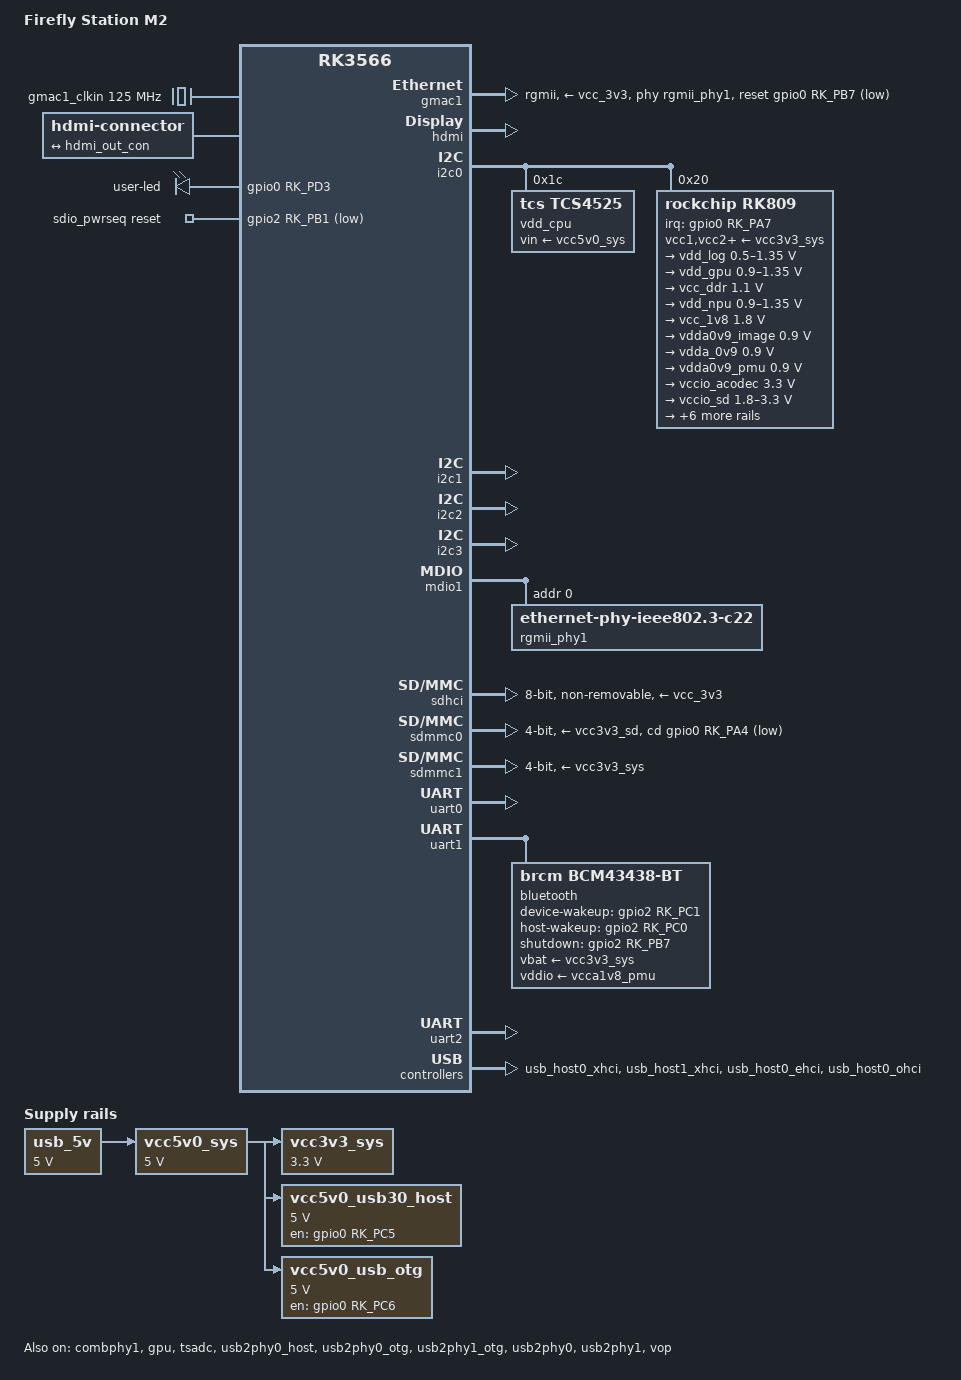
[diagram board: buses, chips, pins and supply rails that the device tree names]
// SPDX-License-Identifier: (GPL-2.0+ OR MIT)

/dts-v1/;

#include <dt-bindings/gpio/gpio.h>
#include <dt-bindings/pinctrl/rockchip.h>
#include <dt-bindings/soc/rockchip,vop2.h>
#include "rk3566.dtsi"

/ {
	model = "Firefly Station M2";
	compatible = "firefly,rk3566-roc-pc", "rockchip,rk3566";

	aliases {
		mmc0 = &sdmmc0;
		mmc1 = &sdhci;
		mmc2 = &sdmmc1;
	};

	chosen: chosen {
		stdout-path = "serial2:1500000n8";
	};

	gmac1_clkin: external-gmac1-clock {
		compatible = "fixed-clock";
		clock-frequency = <125000000>;
		clock-output-names = "gmac1_clkin";
		#clock-cells = <0>;
	};

	hdmi-con {
		compatible = "hdmi-connector";
		type = "a";

		port {
			hdmi_con_in: endpoint {
				remote-endpoint = <&hdmi_out_con>;
			};
		};
	};

	leds {
		compatible = "gpio-leds";

		led-user {
			label = "user-led";
			default-state = "on";
			gpios = <&gpio0 RK_PD3 GPIO_ACTIVE_HIGH>;
			linux,default-trigger = "heartbeat";
			pinctrl-names = "default";
			pinctrl-0 = <&user_led_enable_h>;
			retain-state-suspended;
		};
	};

	sdio_pwrseq: sdio-pwrseq {
		status = "okay";
		compatible = "mmc-pwrseq-simple";
		clocks = <&rk809 1>;
		clock-names = "ext_clock";
		pinctrl-names = "default";
		pinctrl-0 = <&wifi_enable_h>;
		reset-gpios = <&gpio2 RK_PB1 GPIO_ACTIVE_LOW>;
	};

	usb_5v: usb-5v-regulator {
		compatible = "regulator-fixed";
		regulator-name = "usb_5v";
		regulator-always-on;
		regulator-boot-on;
		regulator-min-microvolt = <5000000>;
		regulator-max-microvolt = <5000000>;
	};

	vcc5v0_sys: vcc5v0-sys-regulator {
		compatible = "regulator-fixed";
		regulator-name = "vcc5v0_sys";
		regulator-always-on;
		regulator-boot-on;
		regulator-min-microvolt = <5000000>;
		regulator-max-microvolt = <5000000>;
		vin-supply = <&usb_5v>;
	};

	vcc3v3_sys: vcc3v3-sys-regulator {
		compatible = "regulator-fixed";
		regulator-name = "vcc3v3_sys";
		regulator-min-microvolt = <3300000>;
		regulator-max-microvolt = <3300000>;
		regulator-always-on;
		vin-supply = <&vcc5v0_sys>;
	};

	vcc5v0_usb30_host: vcc5v0-usb30-host-regulator {
		compatible = "regulator-fixed";
		regulator-name = "vcc5v0_usb30_host";
		enable-active-high;
		gpio = <&gpio0 RK_PC5 GPIO_ACTIVE_HIGH>;
		pinctrl-names = "default";
		pinctrl-0 = <&vcc5v0_usb30_host_en_h>;
		regulator-always-on;
		regulator-min-microvolt = <5000000>;
		regulator-max-microvolt = <5000000>;
		vin-supply = <&vcc5v0_sys>;
	};

	vcc5v0_usb_otg: vcc5v0-usb-otg-regulator {
		compatible = "regulator-fixed";
		regulator-name = "vcc5v0_usb_otg";
		enable-active-high;
		gpio = <&gpio0 RK_PC6 GPIO_ACTIVE_HIGH>;
		pinctrl-names = "default";
		pinctrl-0 = <&vcc5v0_usb_otg_en_h>;
		regulator-always-on;
		regulator-min-microvolt = <5000000>;
		regulator-max-microvolt = <5000000>;
		vin-supply = <&vcc5v0_sys>;
	};
};

&combphy1 {
	status = "okay";
};

&cpu0 {
	cpu-supply = <&vdd_cpu>;
};

&cpu1 {
	cpu-supply = <&vdd_cpu>;
};

&cpu2 {
	cpu-supply = <&vdd_cpu>;
};

&cpu3 {
	cpu-supply = <&vdd_cpu>;
};

&gmac1 {
	assigned-clocks = <&cru SCLK_GMAC1_RX_TX>, <&cru SCLK_GMAC1_RGMII_SPEED>, <&cru SCLK_GMAC1>;
	assigned-clock-parents = <&cru SCLK_GMAC1_RGMII_SPEED>, <&cru SCLK_GMAC1>, <&gmac1_clkin>;
	clock_in_out = "input";
	phy-mode = "rgmii";
	phy-supply = <&vcc_3v3>;
	pinctrl-names = "default";
	pinctrl-0 = <&gmac1m0_miim
		     &gmac1m0_tx_bus2
		     &gmac1m0_rx_bus2
		     &gmac1m0_rgmii_clk
		     &gmac1m0_clkinout
		     &gmac1m0_rgmii_bus>;
	snps,reset-gpio = <&gpio0 RK_PB7 GPIO_ACTIVE_LOW>;
	snps,reset-active-low;
	/* Reset time is 20ms, 100ms for rtl8211f */
	snps,reset-delays-us = <0 20000 100000>;
	tx_delay = <0x4f>;
	rx_delay = <0x24>;
	phy-handle = <&rgmii_phy1>;
	status = "okay";
};

&gpu {
	mali-supply = <&vdd_gpu>;
	status = "okay";
};

&hdmi {
	avdd-0v9-supply = <&vdda0v9_image>;
	avdd-1v8-supply = <&vcca1v8_image>;
	status = "okay";
};

&hdmi_in {
	hdmi_in_vp0: endpoint {
		remote-endpoint = <&vp0_out_hdmi>;
	};
};

&hdmi_out {
	hdmi_out_con: endpoint {
		remote-endpoint = <&hdmi_con_in>;
	};
};

&i2c0 {
	status = "okay";

	vdd_cpu: regulator@1c {
		compatible = "tcs,tcs4525";
		reg = <0x1c>;
		fcs,suspend-voltage-selector = <1>;
		regulator-name = "vdd_cpu";
		regulator-min-microvolt = <800000>;
		regulator-max-microvolt = <1150000>;
		regulator-ramp-delay = <2300>;
		regulator-always-on;
		regulator-boot-on;
		vin-supply = <&vcc5v0_sys>;

		regulator-state-mem {
			regulator-off-in-suspend;
		};
	};

	rk809: pmic@20 {
		compatible = "rockchip,rk809";
		reg = <0x20>;
		interrupt-parent = <&gpio0>;
		interrupts = <RK_PA7 IRQ_TYPE_LEVEL_LOW>;
		clock-output-names = "rk808-clkout1", "rk808-clkout2";

		pinctrl-names = "default";
		pinctrl-0 = <&pmic_int>;
		rockchip,system-power-controller;
		wakeup-source;
		#clock-cells = <1>;

		vcc1-supply = <&vcc3v3_sys>;
		vcc2-supply = <&vcc3v3_sys>;
		vcc3-supply = <&vcc3v3_sys>;
		vcc4-supply = <&vcc3v3_sys>;
		vcc5-supply = <&vcc3v3_sys>;
		vcc6-supply = <&vcc3v3_sys>;
		vcc7-supply = <&vcc3v3_sys>;
		vcc8-supply = <&vcc3v3_sys>;
		vcc9-supply = <&vcc3v3_sys>;

		regulators {
			vdd_log: DCDC_REG1 {
				regulator-name = "vdd_log";
				regulator-always-on;
				regulator-boot-on;
				regulator-min-microvolt = <500000>;
				regulator-max-microvolt = <1350000>;
				regulator-init-microvolt = <900000>;
				regulator-ramp-delay = <6001>;

				regulator-state-mem {
					regulator-on-in-suspend;
					regulator-suspend-microvolt = <900000>;
				};
			};

			vdd_gpu: DCDC_REG2 {
				regulator-name = "vdd_gpu";
				regulator-min-microvolt = <900000>;
				regulator-max-microvolt = <1350000>;
				regulator-init-microvolt = <900000>;
				regulator-ramp-delay = <6001>;

				regulator-state-mem {
					regulator-off-in-suspend;
					regulator-suspend-microvolt = <900000>;
				};
			};

			vcc_ddr: DCDC_REG3 {
				regulator-name = "vcc_ddr";
				regulator-always-on;
				regulator-boot-on;
				regulator-min-microvolt = <1100000>;
				regulator-max-microvolt = <1100000>;
				regulator-initial-mode = <0x2>;
				regulator-state-mem {
					regulator-on-in-suspend;
				};
			};

			vdd_npu: DCDC_REG4 {
				regulator-name = "vdd_npu";
				regulator-min-microvolt = <900000>;
				regulator-max-microvolt = <1350000>;
				regulator-initial-mode = <0x2>;
				regulator-state-mem {
					regulator-off-in-suspend;
				};
			};

			vcc_1v8: DCDC_REG5 {
				regulator-name = "vcc_1v8";
				regulator-always-on;
				regulator-boot-on;
				regulator-min-microvolt = <1800000>;
				regulator-max-microvolt = <1800000>;

				regulator-state-mem {
					regulator-on-in-suspend;
					regulator-suspend-microvolt = <1800000>;
				};
			};

			vdda0v9_image: LDO_REG1 {
				regulator-name = "vdda0v9_image";
				regulator-always-on;
				regulator-boot-on;
				regulator-min-microvolt = <900000>;
				regulator-max-microvolt = <900000>;

				regulator-state-mem {
					regulator-on-in-suspend;
					regulator-suspend-microvolt = <900000>;
				};
			};

			vdda_0v9: LDO_REG2 {
				regulator-name = "vdda_0v9";
				regulator-always-on;
				regulator-boot-on;
				regulator-min-microvolt = <900000>;
				regulator-max-microvolt = <900000>;

				regulator-state-mem {
					regulator-on-in-suspend;
					regulator-suspend-microvolt = <900000>;
				};
			};

			vdda0v9_pmu: LDO_REG3 {
				regulator-name = "vdda0v9_pmu";
				regulator-always-on;
				regulator-boot-on;
				regulator-min-microvolt = <900000>;
				regulator-max-microvolt = <900000>;
				regulator-state-mem {
					regulator-on-in-suspend;
					regulator-suspend-microvolt = <900000>;
				};
			};

			vccio_acodec: LDO_REG4 {
				regulator-name = "vccio_acodec";
				regulator-always-on;
				regulator-boot-on;
				regulator-min-microvolt = <3300000>;
				regulator-max-microvolt = <3300000>;

				regulator-state-mem {
					regulator-on-in-suspend;
					regulator-suspend-microvolt = <3300000>;

				};
			};

			vccio_sd: LDO_REG5 {
				regulator-name = "vccio_sd";
				regulator-always-on;
				regulator-boot-on;
				regulator-min-microvolt = <1800000>;
				regulator-max-microvolt = <3300000>;

				regulator-state-mem {
					regulator-on-in-suspend;
					regulator-suspend-microvolt = <3300000>;
				};
			};

			vcc3v3_pmu: LDO_REG6 {
				regulator-name = "vcc3v3_pmu";
				regulator-always-on;
				regulator-boot-on;
				regulator-min-microvolt = <3300000>;
				regulator-max-microvolt = <3300000>;

				regulator-state-mem {
					regulator-on-in-suspend;
					regulator-suspend-microvolt = <3300000>;
				};
			};

			vcca_1v8: LDO_REG7 {
				regulator-name = "vcca_1v8";
				regulator-always-on;
				regulator-boot-on;
				regulator-min-microvolt = <1800000>;
				regulator-max-microvolt = <1800000>;

				regulator-state-mem {
					regulator-on-in-suspend;
					regulator-suspend-microvolt = <1800000>;
				};
			};

			vcca1v8_pmu: LDO_REG8 {
				regulator-name = "vcca1v8_pmu";
				regulator-always-on;
				regulator-boot-on;
				regulator-min-microvolt = <1800000>;
				regulator-max-microvolt = <1800000>;

				regulator-state-mem {
					regulator-on-in-suspend;
					regulator-suspend-microvolt = <1800000>;
				};
			};

			vcca1v8_image: LDO_REG9 {
				regulator-name = "vcca1v8_image";
				regulator-always-on;
				regulator-boot-on;
				regulator-min-microvolt = <1800000>;
				regulator-max-microvolt = <1800000>;

				regulator-state-mem {
					regulator-on-in-suspend;
					regulator-suspend-microvolt = <1800000>;
				};
			};

			vcc_3v3: SWITCH_REG1 {
				regulator-boot-on;
				regulator-name = "vcc3v3";
			};

			vcc3v3_sd: SWITCH_REG2 {
				regulator-name = "vcc3v3_sd";
				regulator-always-on;
				regulator-boot-on;
			};
		};
	};
};

&i2c1 {
	status = "okay";
};

&i2c2 {
	status = "okay";
};

&i2c3 {
	pinctrl-names = "default";
	pinctrl-0 = <&i2c3m0_xfer>;
	status = "okay";
};

&mdio1 {
	rgmii_phy1: ethernet-phy@0 {
		compatible = "ethernet-phy-ieee802.3-c22";
		reg = <0x0>;
	};
};

&pinctrl {
	bt {
		bt_enable_h: bt-enable-h {
			rockchip,pins = <0 RK_PC1 RK_FUNC_GPIO &pcfg_pull_none>;
		};

		bt_host_wake_l: bt-host-wake-l {
			rockchip,pins = <0 RK_PB3 RK_FUNC_GPIO &pcfg_pull_down>;
		};

		bt_wake_l: bt-wake-l {
			rockchip,pins = <0 RK_PB4 RK_FUNC_GPIO &pcfg_pull_none>;
		};
	};

	leds {
		user_led_enable_h: user-led-enable-h {
			rockchip,pins = <0 RK_PD3 RK_FUNC_GPIO &pcfg_pull_none>;
		};
	};

	pmic {
		pmic_int: pmic_int {
			rockchip,pins =
				<0 RK_PA3 RK_FUNC_GPIO &pcfg_pull_up>;
		};
	};

	sdio-pwrseq {
		wifi_enable_h: wifi-enable-h {
			rockchip,pins = <2 RK_PB1 RK_FUNC_GPIO &pcfg_pull_none>;
		};
	};

	usb {
		vcc5v0_usb30_host_en_h: vcc5v0-usb30-host-en_h {
			rockchip,pins = <0 RK_PC5 RK_FUNC_GPIO &pcfg_pull_none>;
		};

		vcc5v0_usb_otg_en_h: vcc5v0-usb-otg-en_h {
			rockchip,pins = <0 RK_PC6 RK_FUNC_GPIO &pcfg_pull_none>;
		};
	};
};

&pmu_io_domains {
	status = "okay";
	pmuio1-supply = <&vcc3v3_pmu>;
	pmuio2-supply = <&vcc3v3_pmu>;
	vccio1-supply = <&vccio_acodec>;
	vccio2-supply = <&vcc_1v8>;
	vccio3-supply = <&vccio_sd>;
	vccio4-supply = <&vcc_1v8>;
	vccio5-supply = <&vcc_3v3>;
	vccio6-supply = <&vcc_1v8>;
	vccio7-supply = <&vcc_3v3>;
};

&sdhci {
	bus-width = <8>;
	mmc-hs200-1_8v;
	non-removable;
	vmmc-supply = <&vcc_3v3>;
	vqmmc-supply = <&vcc_1v8>;
	status = "okay";
};

&sdmmc0 {
	bus-width = <4>;
	cap-sd-highspeed;
	cd-gpios = <&gpio0 RK_PA4 GPIO_ACTIVE_LOW>;
	disable-wp;
	pinctrl-names = "default";
	pinctrl-0 = <&sdmmc0_bus4 &sdmmc0_clk &sdmmc0_cmd &sdmmc0_det>;
	sd-uhs-sdr104;
	vmmc-supply = <&vcc3v3_sd>;
	vqmmc-supply = <&vccio_sd>;
	status = "okay";
};

&sdmmc1 {
	bus-width = <4>;
	cap-sd-highspeed;
	cap-sdio-irq;
	keep-power-in-suspend;
	mmc-pwrseq = <&sdio_pwrseq>;
	vmmc-supply = <&vcc3v3_sys>;
	vqmmc-supply = <&vcca1v8_pmu>;
	pinctrl-names = "default";
	pinctrl-0 = <&sdmmc1_bus4 &sdmmc1_cmd &sdmmc1_clk>;
	status = "okay";
};

&tsadc {
	status = "okay";
};

&uart0 {
	pinctrl-names = "default";
	pinctrl-0 = <&uart0_xfer>;
	status = "okay";
};

&uart1 {
	pinctrl-names = "default";
	pinctrl-0 = <&uart1m0_xfer &uart1m0_ctsn>;
	status = "okay";
	uart-has-rtscts;

	bluetooth {
		compatible = "brcm,bcm43438-bt";
		clocks = <&rk809 1>;
		clock-names = "lpo";
		device-wakeup-gpios = <&gpio2 RK_PC1 GPIO_ACTIVE_HIGH>;
		host-wakeup-gpios = <&gpio2 RK_PC0 GPIO_ACTIVE_HIGH>;
		shutdown-gpios = <&gpio2 RK_PB7 GPIO_ACTIVE_HIGH>;
		pinctrl-names = "default";
		pinctrl-0 = <&bt_host_wake_l &bt_wake_l &bt_enable_h>;
		vbat-supply = <&vcc3v3_sys>;
		vddio-supply = <&vcca1v8_pmu>;
	};
};

&uart2 {
	status = "okay";
};

&usb2phy0_host {
	phy-supply = <&vcc5v0_usb30_host>;
	status = "okay";
};

&usb2phy0_otg {
	phy-supply = <&vcc5v0_usb_otg>;
	status = "okay";
};

&usb2phy1_otg {
	phy-supply = <&vcc5v0_usb30_host>;
	status = "okay";
};

&usb2phy0 {
	status = "okay";
};

&usb2phy1 {
	status = "okay";
};

&usb_host0_xhci {
	status = "okay";
};

&usb_host1_xhci {
	status = "okay";
};

&usb_host0_ehci {
	status = "okay";
};

&usb_host0_ohci {
	status = "okay";
};

&vop {
	assigned-clocks = <&cru DCLK_VOP0>, <&cru DCLK_VOP1>;
	assigned-clock-parents = <&pmucru PLL_HPLL>, <&cru PLL_VPLL>;
	status = "okay";
};

&vop_mmu {
	status = "okay";
};

&vp0 {
	vp0_out_hdmi: endpoint@ROCKCHIP_VOP2_EP_HDMI0 {
		reg = <ROCKCHIP_VOP2_EP_HDMI0>;
		remote-endpoint = <&hdmi_in_vp0>;
	};
};
